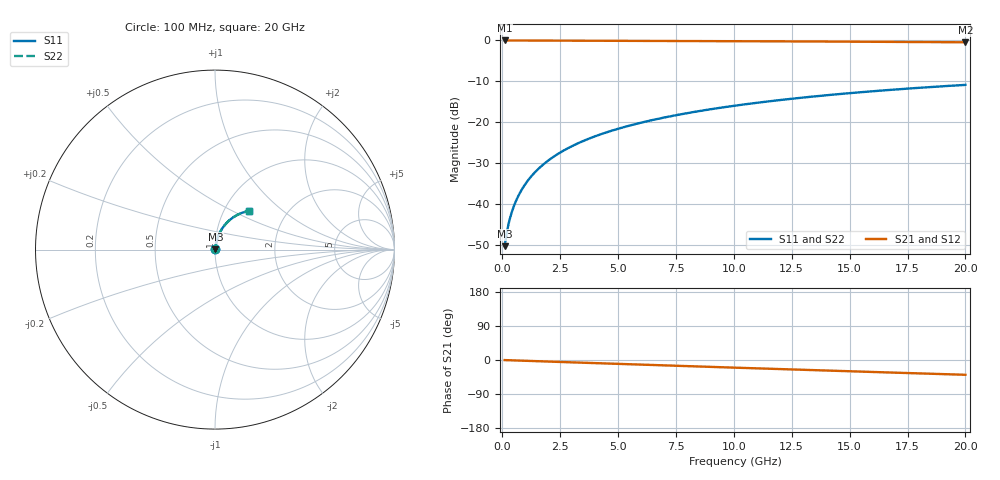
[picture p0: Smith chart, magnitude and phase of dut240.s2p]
! Touchstone file exported from HFSS 2026.1.0
!  File:  C:/ffzhzh/LocalFiles/Ansys_Project_Files/temp_train_TMRDL_240_1782984652_42984.aedt
!  Generated:  05:32:05 PM Jul  2, 2026
!  Design:  TMRDL
!  Project:  temp_train_TMRDL_240_1782984652_42984
! Variables:
!  h_bsmrdl = 2um
!  h_ox = 20um
!  h_rdl = 5um
!  h_sub = 80um
!  h_tmrdl = 4.15um
!  h_tsv = 80um
!  h_via = 3um
!  l_bsmrdl = 300um
!  l_sub = 1009.63um
!  l_tmrdl = 609.63um
!  m_sub = 200um
!  pitch = 43.96um
!  r_tsv = 6um
!  s_tmrdl = 10um
!  w_bsmrdl = 18um
!  w_sub = 500um
!  w_tmrdl = 25.05um
!  x_tsv_center1 = 622.155um
!  x_tsv_center2 = 940.155um
!  x_tsv_center3 = 1574.835um
!  x_tsv_center4 = 1892.835um
!  x_tsv_center5 = 2527.515um
!  x_tsv_center6 = 2845.515um
# GHz S MA R 50.000000
! Terminal data exported
! Port[1] = TM_RDL1_1_T1
! Port[2] = TM_RDL1_1_T2
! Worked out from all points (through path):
!   200 points, 100 MHz to 20 GHz, reference 50 ohm
!   highest |S21| = -0.02 dB at 100 MHz (marker M1); lowest = -0.5 dB at 20 GHz (marker M2)
!   group delay of S21, straight-line fit = 5.42 ps
!   lowest |S11| = -50.4 dB at 100 MHz (marker M3), VSWR 1.01, Z = 50.2 + j0.196 ohm
!   |S11| at or under -10 dB: start of sweep to end of sweep
!   |S22| runs from -50.4 to -10.9 dB; largest |S21 - S12| = 4.4e-15
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0.1  0.003022 40.1  0.9977 -0.2  0.9977 -0.2  0.003022 40.1
! Gamma 0 0 0 0
! Port Impedance 50 0 50 0
0.2  0.00454 56.4  0.9975 -0.4  0.9975 -0.4  0.004539 56.4
0.3  0.006145 63.7  0.9973 -0.6  0.9973 -0.6  0.006145 63.7
0.4  0.007747 68.0  0.9972 -0.9  0.9972 -0.9  0.007746 68.0
0.5  0.009348 70.9  0.9971 -1.1  0.9971 -1.1  0.009347 70.9
0.6  0.01096 73.0  0.997 -1.3  0.997 -1.3  0.01096 73.0
0.8  0.0142 75.8  0.9969 -1.7  0.9969 -1.7  0.0142 75.8
1.1  0.01913 78.1  0.9967 -2.3  0.9967 -2.3  0.01913 78.1
1.3  0.02244 78.9  0.9965 -2.7  0.9965 -2.7  0.02244 78.9
1.6  0.02742 79.5  0.9963 -3.3  0.9963 -3.3  0.02742 79.6
2.1  0.03572 79.8  0.9958 -4.3  0.9958 -4.3  0.03572 79.8
2.7  0.04563 79.5  0.9951 -5.6  0.9951 -5.6  0.04563 79.5
3.5  0.05871 78.5  0.9939 -7.2  0.9939 -7.2  0.05871 78.5
4.2  0.07001 77.4  0.9927 -8.6  0.9927 -8.6  0.07001 77.4
5  0.08274 76.0  0.9912 -10.2  0.9912 -10.2  0.08274 76.0
5.9  0.09683 74.4  0.9893 -12.0  0.9893 -12.0  0.09683 74.4
6.8  0.1107 72.8  0.9874 -13.8  0.9874 -13.8  0.1107 72.8
8.3  0.1332 70.1  0.9838 -16.8  0.9838 -16.8  0.1332 70.1
10.1  0.1594 66.8  0.9791 -20.3  0.9791 -20.3  0.1594 66.8
13.4  0.205 60.7  0.9695 -26.7  0.9695 -26.7  0.205 60.8
16.7  0.247 54.8  0.9589 -32.9  0.9589 -32.9  0.247 54.8
20  0.2851 48.9  0.9478 -39.0  0.9478 -39.0  0.2851 48.9
